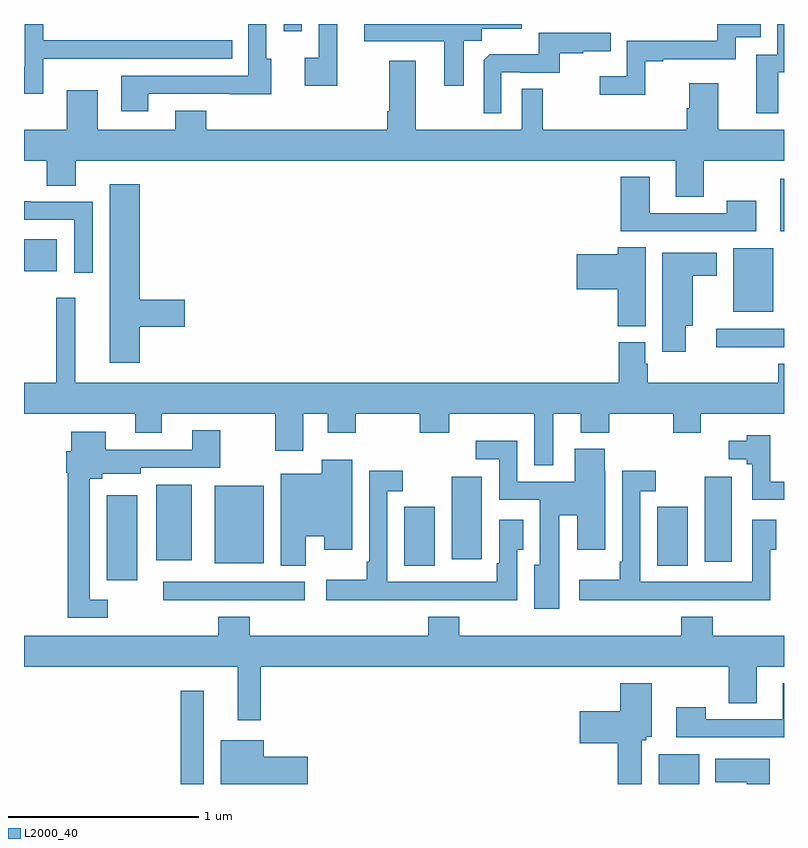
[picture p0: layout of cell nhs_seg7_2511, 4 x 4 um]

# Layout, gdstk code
import gdstk
lib = gdstk.Library(unit=1e-6, precision=1e-09)
def R(c, l, rs):  # rectangles x0, y0, x1, y1
    for r in rs: c.add(gdstk.rectangle(r[:2], r[2:], *l))
def P(c, l, *ps):  # polygons
    for p in ps: c.add(gdstk.Polygon(p, *l))
L2000_40 = (2000, 40)

nhs_seg7_2511 = lib.new_cell('nhs_seg7_2511')
R(nhs_seg7_2511, L2000_40, [(275.826,1000,275.947,1000.492), (278.342,1000,278.554,1000.156), (275.733,1000.968,276.478,1001.064), (275.435,1001.073,275.596,1001.521), (277.001,1001.149,277.162,1001.46), (278.333,1001.149,278.494,1001.46), (276.005,1001.162,276.262,1001.569), (278.582,1001.169,278.725,1001.617), (275.696,1001.177,275.884,1001.575), (277.25,1001.184,277.408,1001.617), (278.643,1002.299,279,1002.396), (278.732,1002.485,278.944,1002.82), (275,1002.698,275.173,1002.868), (278.981,1002.908,279,1003.186), (276.366,1003.962,276.462,1004)])
P(nhs_seg7_2511, L2000_40, [(278.271,1003.803),(278.365,1003.803),(278.365,1003.815),(278.745,1003.815),(278.745,1003.929),(278.878,1003.929),(278.878,1004),(278.649,1004),(278.649,1003.911),(278.172,1003.911),(278.172,1003.726),(278.031,1003.726),(278.031,1003.628),(278.271,1003.628)],
  [(275.653,1003.632),(276.083,1003.632),(276.083,1003.631),(276.301,1003.631),(276.301,1003.818),(276.276,1003.818),(276.276,1004),(276.18,1004),(276.18,1003.728),(275.513,1003.728),(275.513,1003.542),(275.653,1003.542)],
  [(278.971,1003.745),(279,1003.745),(279,1004),(278.964,1004),(278.964,1003.839),(278.855,1003.839),(278.855,1003.53),(278.971,1003.53)],
  [(276.649,1004),(276.552,1004),(276.552,1003.822),(276.477,1003.822),(276.477,1003.674),(276.649,1003.674)],
  [(277.315,1003.912),(277.41,1003.912),(277.41,1003.976),(277.621,1003.976),(277.621,1004),(276.791,1004),(276.791,1003.91),(277.211,1003.91),(277.211,1003.674),(277.315,1003.674)],
  [(275.1,1003.817),(275.417,1003.817),(275.417,1003.818),(276.095,1003.818),(276.095,1003.914),(275.1,1003.914),(275.1,1004),(275.004,1004),(275.004,1003.776),(275,1003.776),(275,1003.632),(275.1,1003.632)],
  [(277.512,1003.746),(277.612,1003.746),(277.612,1003.743),(277.82,1003.743),(277.82,1003.845),(277.943,1003.845),(277.943,1003.856),(278.087,1003.856),(278.087,1003.953),(277.71,1003.953),(277.71,1003.841),(277.451,1003.841),(277.419,1003.809),(277.419,1003.529),(277.512,1003.529)],
  [(278.577,1003.28),(279,1003.28),(279,1003.444),(278.653,1003.444),(278.653,1003.687),(278.501,1003.687),(278.501,1003.557),(278.489,1003.557),(278.489,1003.444),(277.729,1003.444),(277.729,1003.658),(277.62,1003.658),(277.62,1003.444),(277.063,1003.444),(277.063,1003.807),(276.923,1003.807),(276.923,1003.54),(276.911,1003.54),(276.911,1003.444),(275.959,1003.444),(275.959,1003.543),(275.795,1003.543),(275.795,1003.444),(275.389,1003.444),(275.389,1003.651),(275.225,1003.651),(275.225,1003.444),(275,1003.444),(275,1003.28),(275.12,1003.28),(275.12,1003.15),(275.272,1003.15),(275.272,1003.28),(278.429,1003.28),(278.429,1003.09),(278.577,1003.09)],
  [(278.854,1003.069),(278.698,1003.069),(278.698,1003.005),(278.293,1003.005),(278.293,1003.195),(278.141,1003.195),(278.141,1002.909),(278.854,1002.909)],
  [(275.609,1002.406),(275.845,1002.406),(275.845,1002.548),(275.609,1002.548),(275.609,1003.156),(275.45,1003.156),(275.45,1002.216),(275.609,1002.216)],
  [(275.361,1003.065),(275.036,1003.065),(275.036,1003.067),(275,1003.067),(275,1002.969),(275.265,1002.969),(275.265,1002.69),(275.361,1002.69)],
  [(278.272,1002.824),(278.126,1002.824),(278.126,1002.788),(277.908,1002.788),(277.908,1002.605),(278.126,1002.605),(278.126,1002.409),(278.272,1002.409)],
  [(278.482,1002.413),(278.521,1002.413),(278.521,1002.674),(278.647,1002.674),(278.647,1002.796),(278.36,1002.796),(278.36,1002.276),(278.482,1002.276)],
  [(275.171,1002.559),(275.171,1002.112),(275,1002.112),(275,1001.948),(275.585,1001.948),(275.585,1001.849),(275.725,1001.849),(275.725,1001.948),(276.322,1001.948),(276.322,1001.754),(276.469,1001.754),(276.469,1001.948),(276.599,1001.948),(276.599,1001.849),(276.747,1001.849),(276.747,1001.948),(277.084,1001.948),(277.084,1001.849),(277.239,1001.849),(277.239,1001.948),(277.685,1001.948),(277.685,1001.677),(277.786,1001.677),(277.786,1001.948),(277.931,1001.948),(277.931,1001.849),(278.079,1001.849),(278.079,1001.948),(278.416,1001.948),(278.416,1001.849),(278.563,1001.849),(278.563,1001.948),(279,1001.948),(279,1002.211),(278.969,1002.211),(278.969,1002.112),(278.282,1002.112),(278.282,1002.213),(278.269,1002.213),(278.269,1002.324),(278.129,1002.324),(278.129,1002.112),(275.27,1002.112),(275.27,1002.559)],
  [(275.44,1000.971),(275.346,1000.971),(275.346,1001.606),(275.412,1001.606),(275.412,1001.633),(275.614,1001.633),(275.614,1001.664),(276.033,1001.664),(276.033,1001.863),(275.885,1001.863),(275.885,1001.76),(275.431,1001.76),(275.431,1001.854),(275.249,1001.854),(275.249,1001.751),(275.222,1001.751),(275.222,1001.637),(275.23,1001.637),(275.23,1000.875),(275.44,1000.875)],
  [(279,1001.592),(278.928,1001.592),(278.928,1001.836),(278.804,1001.836),(278.804,1001.806),(278.709,1001.806),(278.709,1001.709),(278.804,1001.709),(278.804,1001.682),(278.832,1001.682),(278.832,1001.496),(279,1001.496)],
  [(277.816,1001.414),(277.913,1001.414),(277.913,1001.232),(278.059,1001.232),(278.059,1001.646),(278.056,1001.646),(278.056,1001.764),(277.898,1001.764),(277.898,1001.592),(277.596,1001.592),(277.596,1001.806),(277.377,1001.806),(277.377,1001.709),(277.5,1001.709),(277.5,1001.496),(277.715,1001.496),(277.715,1001.155),(277.685,1001.155),(277.685,1000.923),(277.816,1000.923)],
  [(276.484,1001.303),(276.581,1001.303),(276.581,1001.232),(276.727,1001.232),(276.727,1001.707),(276.566,1001.707),(276.566,1001.632),(276.35,1001.632),(276.35,1001.149),(276.484,1001.149)],
  [(278.341,1000.968),(278.707,1000.968),(278.707,1000.967),(278.928,1000.967),(278.928,1001.233),(278.959,1001.233),(278.959,1001.392),(278.832,1001.392),(278.832,1001.064),(278.244,1001.064),(278.244,1001.541),(278.326,1001.541),(278.326,1001.65),(278.148,1001.65),(278.148,1001.17),(278.136,1001.17),(278.136,1001.074),(277.923,1001.074),(277.923,1000.967),(278.341,1000.967)],
  [(277.009,1000.968),(277.375,1000.968),(277.375,1000.967),(277.596,1000.967),(277.596,1001.233),(277.627,1001.233),(277.627,1001.392),(277.5,1001.392),(277.5,1001.161),(277.488,1001.161),(277.488,1001.064),(276.912,1001.064),(276.912,1001.541),(276.994,1001.541),(276.994,1001.65),(276.816,1001.65),(276.816,1001.17),(276.804,1001.17),(276.804,1001.074),(276.591,1001.074),(276.591,1000.967),(277.009,1000.967)],
  [(276.247,1000.616),(278.71,1000.616),(278.71,1000.426),(278.857,1000.426),(278.857,1000.616),(279,1000.616),(279,1000.78),(278.624,1000.78),(278.624,1000.879),(278.459,1000.879),(278.459,1000.78),(277.292,1000.78),(277.292,1000.879),(277.127,1000.879),(277.127,1000.78),(276.188,1000.78),(276.188,1000.879),(276.023,1000.879),(276.023,1000.78),(275,1000.78),(275,1000.616),(276.125,1000.616),(276.125,1000.335),(276.247,1000.335)],
  [(279,1000.531),(278.993,1000.531),(278.993,1000.341),(278.589,1000.341),(278.589,1000.405),(278.433,1000.405),(278.433,1000.245),(279,1000.245)],
  [(278.251,1000.23),(278.274,1000.23),(278.274,1000.248),(278.305,1000.248),(278.305,1000.531),(278.138,1000.531),(278.138,1000.384),(277.926,1000.384),(277.926,1000.214),(278.126,1000.214),(278.126,1000),(278.251,1000)],
  [(276.493,1000.143),(276.262,1000.143),(276.262,1000.231),(276.035,1000.231),(276.035,1000),(276.493,1000)],
  [(278.926,1000.132),(278.639,1000.132),(278.639,1000.01),(278.804,1000.01),(278.804,1000),(278.926,1000)])

lib.write_gds('nhs_seg7_2511.gds')
